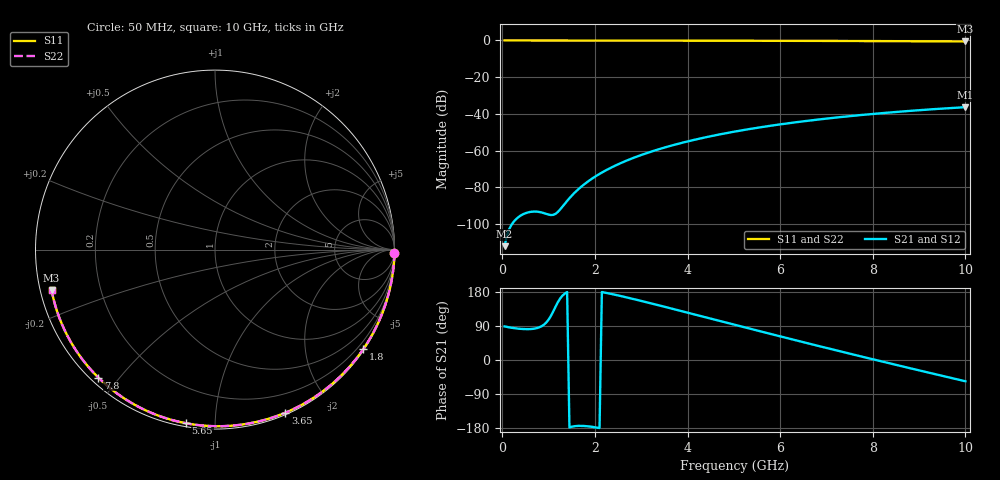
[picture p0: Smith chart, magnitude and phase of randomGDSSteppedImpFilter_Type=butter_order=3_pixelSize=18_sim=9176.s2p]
! freq	dB(S11)	phase(S11)	dB(S12)	phase(S12)
!  dB(S21)	phase(S21)	dB(S22)	phase(S22)
!S-par simulation data
#  GHz  S  DB  R 50
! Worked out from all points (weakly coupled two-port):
!   200 points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, 50 MHz to 10 GHz, reference 50 ohm
!   highest |S21| = -36.34 dB at 10 GHz (marker M1); lowest = -112.0 dB at 50 MHz (marker M2)
!   lowest |S11| = -0.6 dB at 10 GHz (marker M3), VSWR 31.32, Z = 1.62 - j6.1 ohm
!   |S11| at or under -10 dB: nowhere
!   |S22| runs from -0.6 to 0.0 dB; largest |S21 - S12| = 0
!   S11 on the Smith chart (normalised r, x): 50 MHz: open; 1.8 GHz: 0.03, -3.29; 3.65 GHz: 0.02, -1.52; 5.65 GHz: 0.02, -0.85; 7.8 GHz: 0.02, -0.44; 10 GHz: 0.03, -0.12
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0.05  -0.00 -1.0  -112.02 88.6  -112.02 88.6  -0.00 -1.0
0.45  -0.01 -8.6  -94.63 81.7  -94.63 81.7  -0.01 -8.6
0.85  -0.02 -16.2  -93.67 89.2  -93.67 89.2  -0.02 -16.2
1.65  -0.04 -31.1  -80.83 -173.8  -80.83 -173.8  -0.04 -31.1
1.7  -0.04 -32.0  -79.74 -173.8  -79.74 -173.8  -0.04 -32.0
1.75  -0.04 -32.9  -78.71 -174.0  -78.71 -174.0  -0.04 -32.9
1.8  -0.04 -33.9  -77.73 -174.4  -77.73 -174.4  -0.04 -33.9
2.1  -0.05 -39.3  -72.67 -179.5  -72.67 -179.5  -0.05 -39.3
2.3  -0.06 -43.0  -69.89 175.7  -69.89 175.7  -0.06 -43.0
2.5  -0.06 -46.6  -67.45 170.4  -67.45 170.4  -0.06 -46.6
2.9  -0.07 -53.7  -63.29 158.9  -63.29 158.9  -0.07 -53.7
3.4  -0.08 -62.4  -59.08 143.7  -59.08 143.7  -0.08 -62.4
3.65  -0.09 -66.7  -57.27 135.9  -57.27 135.9  -0.09 -66.7
4.3  -0.11 -77.7  -53.23 115.5  -53.23 115.5  -0.11 -77.7
5.05  -0.14 -89.9  -49.48 91.9  -49.48 91.9  -0.14 -89.9
5.65  -0.17 -99.5  -46.99 73.2  -46.99 73.2  -0.17 -99.5
6.15  -0.19 -107.3  -45.18 57.8  -45.18 57.8  -0.19 -107.3
6.7  -0.23 -115.7  -43.42 40.9  -43.42 40.9  -0.23 -115.7
7.8  -0.31 -132.4  -40.49 7.8  -40.49 7.8  -0.31 -132.4
8.35  -0.36 -140.7  -39.26 -8.4  -39.26 -8.4  -0.36 -140.7
9.2  -0.45 -153.6  -37.62 -33.2  -37.62 -33.2  -0.45 -153.6
10  -0.55 -166.1  -36.34 -56.1  -36.34 -56.1  -0.55 -166.1
